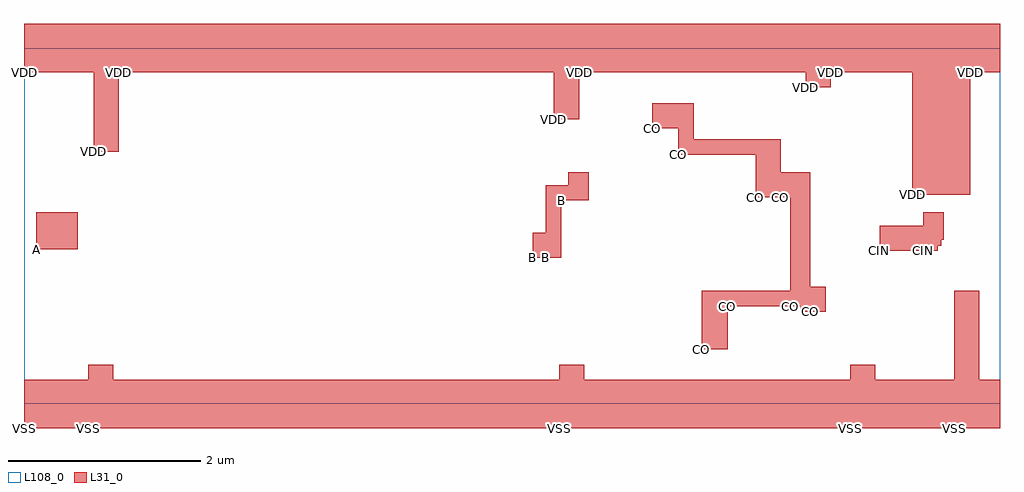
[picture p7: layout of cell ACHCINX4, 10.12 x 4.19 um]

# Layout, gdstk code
import gdstk
lib = gdstk.Library(unit=1e-6, precision=1e-09)
def R(c, l, rs):  # rectangles x0, y0, x1, y1
    for r in rs: c.add(gdstk.rectangle(r[:2], r[2:], *l))
L31_0 = (31, 0)
L108_0 = (108, 0)

achcinx4 = lib.new_cell('ACHCINX4')
R(achcinx4, L31_0, [(0,-0.25,0.665,0.25), (0.665,-0.25,0.925,0.405), (0.925,-0.25,5.55,0.25), (5.55,-0.25,5.81,0.405), (5.81,-0.25,8.565,0.25), (8.565,-0.25,8.825,0.405), (8.825,-0.25,9.645,0.25), (9.645,-0.25,9.905,1.175), (9.905,-0.25,10.12,0.25), (7.025,0.565,7.295,1.175), (8.055,0.955,8.155,2.4), (8.155,0.955,8.315,1.215), (7.295,1.015,7.945,1.175), (7.945,1.015,8.055,2.4), (5.275,1.515,5.41,1.775), (5.41,1.515,5.57,2.27), (8.875,1.59,9.325,1.85), (9.325,1.59,9.475,1.99), (0.125,1.605,0.555,1.99), (9.475,1.64,9.51,1.99), (9.51,1.7,9.535,1.99), (5.57,2.11,5.645,2.27), (5.645,2.11,5.855,2.4), (7.585,2.145,7.845,2.745), (7.845,2.145,7.945,2.4), (9.21,2.17,9.81,3.94), (6.785,2.585,6.945,3.12), (6.945,2.585,7.585,2.745), (0.725,2.615,0.985,3.94), (6.515,2.86,6.785,3.12), (5.495,2.95,5.755,3.94), (8.105,3.285,8.365,3.94), (0,3.44,0.725,3.94), (0.985,3.44,5.495,3.94), (5.755,3.44,8.105,3.94), (8.365,3.44,9.21,3.94), (9.81,3.44,10.12,3.94)])
R(achcinx4, L108_0, [(0,0,10.12,3.69)])
achcinx4.add(gdstk.Label('CO', (6.515,2.86), layer=131, texttype=0))
achcinx4.add(gdstk.Label('CO', (6.785,2.585), layer=131, texttype=0))
achcinx4.add(gdstk.Label('CO', (7.025,0.565), layer=131, texttype=0))
achcinx4.add(gdstk.Label('CO', (6.945,2.585), layer=131, texttype=0))
achcinx4.add(gdstk.Label('CO', (7.585,2.145), layer=131, texttype=0))
achcinx4.add(gdstk.Label('CO', (7.845,2.145), layer=131, texttype=0))
achcinx4.add(gdstk.Label('CO', (7.295,1.015), layer=131, texttype=0))
achcinx4.add(gdstk.Label('CO', (7.945,1.015), layer=131, texttype=0))
achcinx4.add(gdstk.Label('CO', (8.055,0.955), layer=131, texttype=0))
achcinx4.add(gdstk.Label('CO', (8.155,0.955), layer=131, texttype=0))
achcinx4.add(gdstk.Label('CIN', (8.875,1.59), layer=131, texttype=0))
achcinx4.add(gdstk.Label('CIN', (9.325,1.59), layer=131, texttype=0))
achcinx4.add(gdstk.Label('CIN', (9.475,1.64), layer=131, texttype=0))
achcinx4.add(gdstk.Label('CIN', (9.51,1.7), layer=131, texttype=0))
achcinx4.add(gdstk.Label('B', (5.275,1.515), layer=131, texttype=0))
achcinx4.add(gdstk.Label('B', (5.41,1.515), layer=131, texttype=0))
achcinx4.add(gdstk.Label('B', (5.57,2.11), layer=131, texttype=0))
achcinx4.add(gdstk.Label('B', (5.645,2.11), layer=131, texttype=0))
achcinx4.add(gdstk.Label('A', (0.125,1.605), layer=131, texttype=0))
achcinx4.add(gdstk.Label('VSS', (0,-0.25), layer=131, texttype=0))
achcinx4.add(gdstk.Label('VSS', (0.665,-0.25), layer=131, texttype=0))
achcinx4.add(gdstk.Label('VSS', (0.925,-0.25), layer=131, texttype=0))
achcinx4.add(gdstk.Label('VSS', (5.55,-0.25), layer=131, texttype=0))
achcinx4.add(gdstk.Label('VSS', (5.81,-0.25), layer=131, texttype=0))
achcinx4.add(gdstk.Label('VSS', (8.565,-0.25), layer=131, texttype=0))
achcinx4.add(gdstk.Label('VSS', (8.825,-0.25), layer=131, texttype=0))
achcinx4.add(gdstk.Label('VSS', (9.645,-0.25), layer=131, texttype=0))
achcinx4.add(gdstk.Label('VSS', (9.905,-0.25), layer=131, texttype=0))
achcinx4.add(gdstk.Label('VDD', (0,3.44), layer=131, texttype=0))
achcinx4.add(gdstk.Label('VDD', (0.725,2.615), layer=131, texttype=0))
achcinx4.add(gdstk.Label('VDD', (0.985,3.44), layer=131, texttype=0))
achcinx4.add(gdstk.Label('VDD', (5.495,2.95), layer=131, texttype=0))
achcinx4.add(gdstk.Label('VDD', (5.755,3.44), layer=131, texttype=0))
achcinx4.add(gdstk.Label('VDD', (8.105,3.285), layer=131, texttype=0))
achcinx4.add(gdstk.Label('VDD', (8.365,3.44), layer=131, texttype=0))
achcinx4.add(gdstk.Label('VDD', (9.21,2.17), layer=131, texttype=0))
achcinx4.add(gdstk.Label('VDD', (9.81,3.44), layer=131, texttype=0))

lib.write_gds('ACHCINX4.gds')
